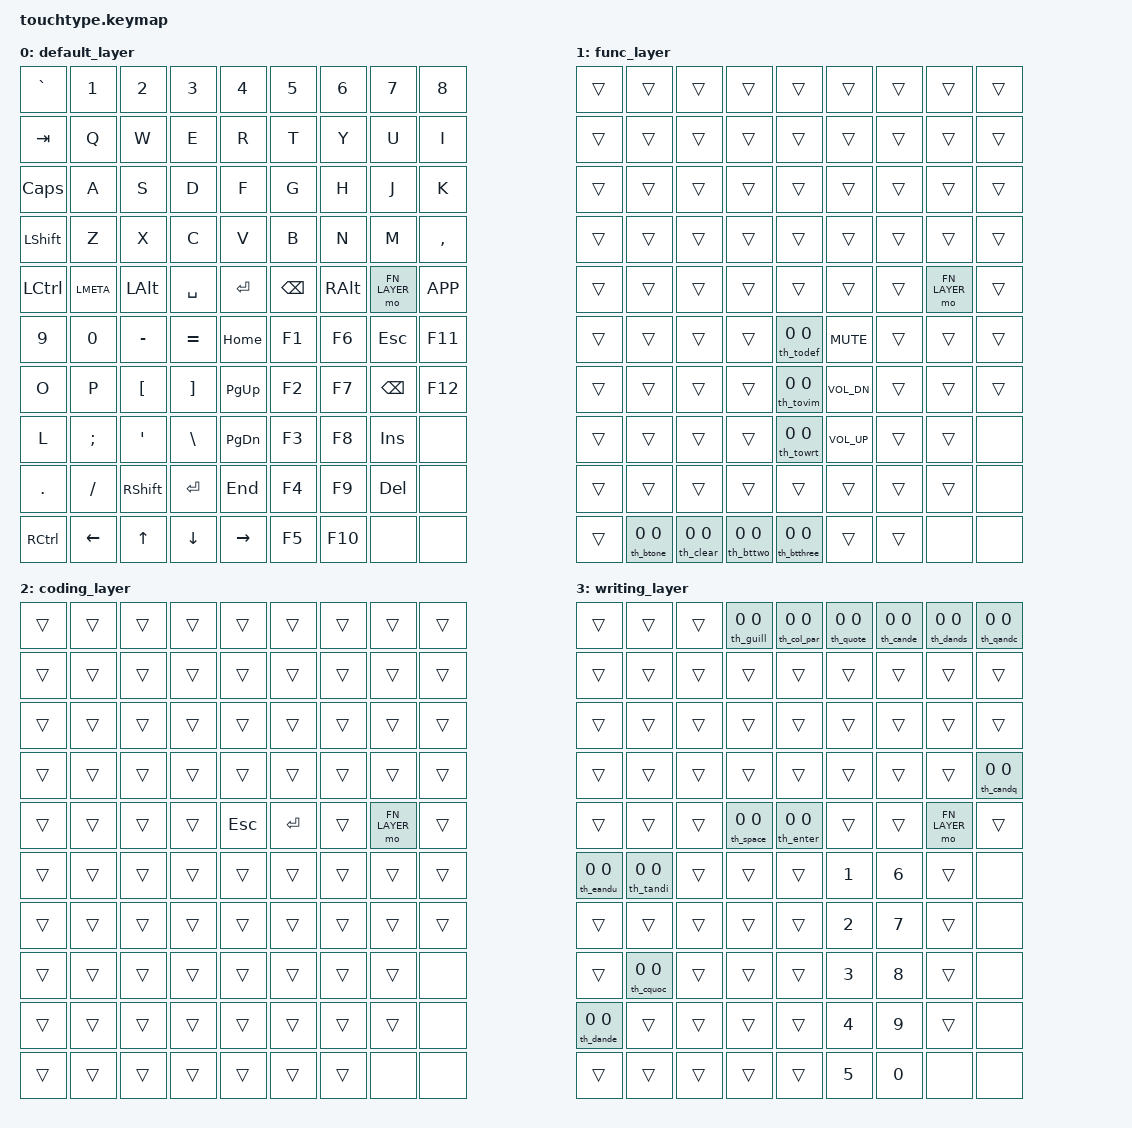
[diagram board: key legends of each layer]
/*
 * Copyright (c) 2020 The ZMK Contributors
 *
 * SPDX-License-Identifier: MIT
 */

 /*
写小说常用符号与zmk键值对应表：
&kp COLON → ： |  &kp LT → 《  |  &kp GT → 》 |  
 */

#include <behaviors.dtsi>
#include <dt-bindings/zmk/keys.h>
#include <dt-bindings/zmk/bt.h>
#include "touchtype.dtsi"

#define DEF_LAYER 0
#define FN_LAYER 1
#define VIM_LAYER 2
#define WRT_LAYER 3 

/ {

    keymap {
        compatible = "zmk,keymap";

        // 排在第一位的，就是 layer 0，跟名字没有任何关系，后面如此类推
        default_layer {
            bindings = <
    /*          // COL_1        // COL_2        // COL_3        // COL_4        // COL_5        // COL_6        // COL_7        // COL_8       // COL_9  
                //——————————————//——————————————//——————————————//——————————————//——————————————//——————————————//——————————————//—————————————//————————————— */  
    /*ROW_1*/   &kp GRAVE       &kp N1          &kp N2          &kp N3          &kp N4          &kp N5          &kp N6          &kp N7         &kp N8
    /*ROW_2*/   &kp TAB         &kp Q           &kp W           &kp E           &kp R           &kp T           &kp Y           &kp U          &kp I
    /*ROW_3*/   &kp CAPS        &kp A           &kp S           &kp D           &kp F           &kp G           &kp H           &kp J          &kp K
    /*ROW_4*/   &kp LSHIFT      &kp Z           &kp X           &kp C           &kp V           &kp B           &kp N           &kp M          &kp COMMA
    /*ROW_5*/   &kp LCTRL       &kp LMETA       &kp LALT        &kp SPACE       &kp ENTER       &kp BACKSPACE   &kp RALT        &mo FN_LAYER   &kp K_APP
    /*ROW_6*/   &kp N9          &kp N0          &kp MINUS       &kp EQUAL       &kp HOME        &kp F1          &kp F6          &kp ESC        &kp F11
    /*ROW_7*/   &kp O           &kp P           &kp LBKT        &kp RBKT        &kp PAGE_UP     &kp F2          &kp F7          &kp BACKSPACE  &kp F12
    /*ROW_8*/   &kp L           &kp SEMICOLON   &kp APOSTROPHE  &kp BACKSLASH   &kp PAGE_DOWN   &kp F3          &kp F8          &kp INSERT     &none
    /*ROW_9*/   &kp DOT         &kp SLASH       &kp RSHIFT      &kp ENTER       &kp END         &kp F4          &kp F9          &kp DELETE     &none
    /*ROW_10*/  &kp RCTRL       &kp LEFT_ARROW  &kp UP_ARROW    &kp DOWN_ARROW  &kp RIGHT_ARROW &kp F5          &kp F10         &none          &none
            >;
        };

        // layer 1 , fn 功能键层
        func_layer {
            bindings = <
    /*          // COL_1        // COL_2        // COL_3        // COL_4        // COL_5        // COL_6        // COL_7        // COL_8       // COL_9  
                //——————————————//——————————————//——————————————//——————————————//——————————————//——————————————//——————————————//—————————————//————————————— */  
    /*ROW_1*/   &trans          &trans          &trans          &trans          &trans          &trans          &trans          &trans         &trans
    /*ROW_2*/   &trans          &trans          &trans          &trans          &trans          &trans          &trans          &trans         &trans
    /*ROW_3*/   &trans          &trans          &trans          &trans          &trans          &trans          &trans          &trans         &trans
    /*ROW_4*/   &trans          &trans          &trans          &trans          &trans          &trans          &trans          &trans         &trans
    /*ROW_5*/   &trans          &trans          &trans          &trans          &trans          &trans          &trans          &mo FN_LAYER   &trans
    /*ROW_6*/   &trans          &trans          &trans          &trans          &th_todef 0 0   &kp C_MUTE      &trans          &trans         &trans
    /*ROW_7*/   &trans          &trans          &trans          &trans          &th_tovim 0 0   &kp C_VOL_DN    &trans          &trans         &trans
    /*ROW_8*/   &trans          &trans          &trans          &trans          &th_towrt 0 0   &kp C_VOL_UP    &trans          &trans         &none
    /*ROW_9*/   &trans          &trans          &trans          &trans          &trans          &trans          &trans          &trans         &none
    /*ROW_10*/  &trans          &th_btone 0 0   &th_clear 0 0   &th_bttwo 0 0   &th_btthree 0 0 &trans          &trans          &none          &none
            >;
        };

        // layer 2 , vim 编程模式功能键层
        coding_layer {
            bindings = <
    /*          // COL_1        // COL_2        // COL_3        // COL_4        // COL_5        // COL_6        // COL_7        // COL_8       // COL_9  
                //——————————————//——————————————//——————————————//——————————————//——————————————//——————————————//——————————————//—————————————//————————————— */  
    /*ROW_1*/   &trans          &trans          &trans          &trans          &trans          &trans          &trans          &trans         &trans
    /*ROW_2*/   &trans          &trans          &trans          &trans          &trans          &trans          &trans          &trans         &trans
    /*ROW_3*/   &trans          &trans          &trans          &trans          &trans          &trans          &trans          &trans         &trans
    /*ROW_4*/   &trans          &trans          &trans          &trans          &trans          &trans          &trans          &trans         &trans
    /*ROW_5*/   &trans          &trans          &trans          &trans          &kp ESC         &kp ENTER       &trans          &mo FN_LAYER   &trans
    /*ROW_6*/   &trans          &trans          &trans          &trans          &trans          &trans          &trans          &trans         &trans
    /*ROW_7*/   &trans          &trans          &trans          &trans          &trans          &trans          &trans          &trans         &trans
    /*ROW_8*/   &trans          &trans          &trans          &trans          &trans          &trans          &trans          &trans         &none
    /*ROW_9*/   &trans          &trans          &trans          &trans          &trans          &trans          &trans          &trans         &none
    /*ROW_10*/  &trans          &trans          &trans          &trans          &trans          &trans          &trans          &none          &none
            >;
        };

        // layer 3, 中文小说写作模式
        writing_layer {
            bindings = <
    /*          // COL_1        // COL_2        // COL_3        // COL_4        // COL_5        // COL_6        // COL_7        // COL_8       // COL_9  
                //——————————————//——————————————//——————————————//——————————————//——————————————//——————————————//——————————————//—————————————//————————————— */  
    /*ROW_1*/   &trans          &trans          &trans          &th_guill 0 0   &th_col_par 0 0 &th_quote 0 0   &th_cande 0 0   &th_dands 0 0  &th_qandc 0 0
    /*ROW_2*/   &trans          &trans          &trans          &trans          &trans          &trans          &trans          &trans         &trans
    /*ROW_3*/   &trans          &trans          &trans          &trans          &trans          &trans          &trans          &trans         &trans
    /*ROW_4*/   &trans          &trans          &trans          &trans          &trans          &trans          &trans          &trans         &th_candq 0 0
    /*ROW_5*/   &trans          &trans          &trans          &th_space 0 0   &th_enter 0 0   &trans          &trans          &mo FN_LAYER   &trans
    /*ROW_6*/   &th_eandu 0 0   &th_tandi 0 0   &trans          &trans          &trans          &kp N1          &kp N6          &trans         &none
    /*ROW_7*/   &trans          &trans          &trans          &trans          &trans          &kp N2          &kp N7          &trans         &none
    /*ROW_8*/   &trans          &th_cquoc 0 0   &trans          &trans          &trans          &kp N3          &kp N8          &trans         &none
    /*ROW_9*/   &th_dande 0 0   &trans          &trans          &trans          &trans          &kp N4          &kp N9          &trans         &none
    /*ROW_10*/  &trans          &trans          &trans          &trans          &trans          &kp N5          &kp N0          &none          &none
            >;
        };


    };
};
